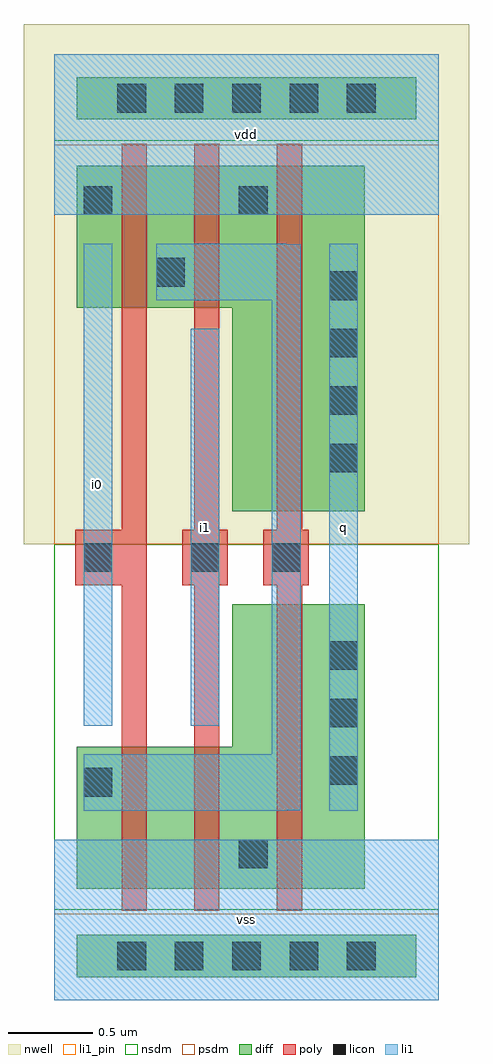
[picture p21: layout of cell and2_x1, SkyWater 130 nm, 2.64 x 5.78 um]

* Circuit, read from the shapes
.subckt and2_x1 i0 i1 q vdd vss
XM1 n1 i0 n2 VSUBS sky130_fd_pr__nfet_01v8 w=0.84 l=0.15
XM2 vss i1 n1 VSUBS sky130_fd_pr__nfet_01v8 w=0.84 l=0.15
XM3 q n2 vss VSUBS sky130_fd_pr__nfet_01v8 w=1.685 l=0.15
XM4 n2 i0 vdd n3 sky130_fd_pr__pfet_01v8 w=0.84 l=0.15
XM5 vdd i1 n2 n3 sky130_fd_pr__pfet_01v8 w=0.84 l=0.15
XM6 q n2 vdd n3 sky130_fd_pr__pfet_01v8 w=2.045 l=0.15
.ends

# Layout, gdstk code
import gdstk
lib = gdstk.Library(unit=1e-6, precision=1e-09)
def R(c, l, rs):  # rectangles x0, y0, x1, y1
    for r in rs: c.add(gdstk.rectangle(r[:2], r[2:], *l))
def A(c, l, x, y, w, h, nx, ny, dx, dy):  # array of equal rectangles
    R(c, l, [(x+i*dx, y+j*dy, x+i*dx+w, y+j*dy+h) for i in range(nx) for j in range(ny)])
def P(c, l, *ps):  # polygons
    for p in ps: c.add(gdstk.Polygon(p, *l))
nwell = (64, 20)
diff = (65, 20)
poly = (66, 20)
licon = (66, 44)
li1_pin = (67, 16)
li1 = (67, 20)
nsdm = (93, 44)
psdm = (94, 20)

and2_x1 = lib.new_cell('and2_x1')
R(and2_x1, nwell, [(-0.18,2.7,2.46,5.78)])
R(and2_x1, diff, [(0.135,0.135,2.145,0.385), (0.135,5.215,2.145,5.465)])
P(and2_x1, diff, [(0.135,0.66),(0.135,1.5),(1.055,1.5),(1.055,2.345),(1.84,2.345),(1.84,0.66)],
  [(1.055,2.895),(1.055,4.1),(0.135,4.1),(0.135,4.94),(1.84,4.94),(1.84,2.895)])
P(and2_x1, poly, [(1.32,0.53),(1.32,2.455),(1.24,2.455),(1.24,2.785),(1.32,2.785),(1.32,5.07),(1.47,5.07),(1.47,2.785),(1.51,2.785),(1.51,2.455),(1.47,2.455),(1.47,0.53)],
  [(0.4,0.53),(0.4,2.455),(0.125,2.455),(0.125,2.785),(0.4,2.785),(0.4,5.07),(0.55,5.07),(0.55,0.53)],
  [(0.83,0.53),(0.83,2.455),(0.76,2.455),(0.76,2.785),(0.83,2.785),(0.83,5.07),(0.98,5.07),(0.98,2.785),(1.03,2.785),(1.03,2.455),(0.98,2.455),(0.98,0.53)])
A(and2_x1, licon, 0.375, 0.175, 0.17, 0.17, 5, 2, 0.34, 5.08)
A(and2_x1, licon, 1.63, 1.275, 0.17, 0.17, 1, 3, 0, 0.34)
A(and2_x1, licon, 1.63, 3.125, 0.17, 0.17, 1, 4, 0, 0.34)
R(and2_x1, licon, [(1.095,0.78,1.265,0.95), (0.175,1.205,0.345,1.375), (0.175,2.535,0.345,2.705), (0.81,2.535,0.98,2.705), (1.29,2.535,1.46,2.705), (0.605,4.225,0.775,4.395), (0.175,4.65,0.345,4.82), (1.095,4.65,1.265,4.82)])
R(and2_x1, li1_pin, [(0,0,2.28,0.95), (1.63,1.12,1.8,4.48), (0.175,1.625,0.345,4.48), (0.81,1.625,0.98,3.975), (0,4.65,2.28,5.6)])
R(and2_x1, li1, [(0,0,2.28,0.95), (1.63,1.12,1.8,4.48), (0.175,1.625,0.345,4.48), (0.81,1.625,0.98,3.975), (0,4.65,2.28,5.6)])
P(and2_x1, li1, [(0.175,1.12),(0.175,1.455),(1.29,1.455),(1.29,4.145),(0.605,4.145),(0.605,4.48),(1.375,4.48),(1.375,4.475),(1.46,4.475),(1.46,1.125),(1.375,1.125),(1.375,1.12)])
R(and2_x1, nsdm, [(0,0.535,2.28,2.7), (0,5.09,2.28,5.6)])
R(and2_x1, psdm, [(0,0,2.28,0.51), (0,2.7,2.28,5.065)])
and2_x1.add(gdstk.Label('vdd', (1.14,5.125), layer=67, texttype=16))
and2_x1.add(gdstk.Label('vss', (1.14,0.475), layer=67, texttype=16))
and2_x1.add(gdstk.Label('i0', (0.26,3.052), layer=67, texttype=16))
and2_x1.add(gdstk.Label('i1', (0.895,2.8), layer=67, texttype=16))
and2_x1.add(gdstk.Label('q', (1.715,2.8), layer=67, texttype=16))

lib.write_gds('and2_x1.gds')
